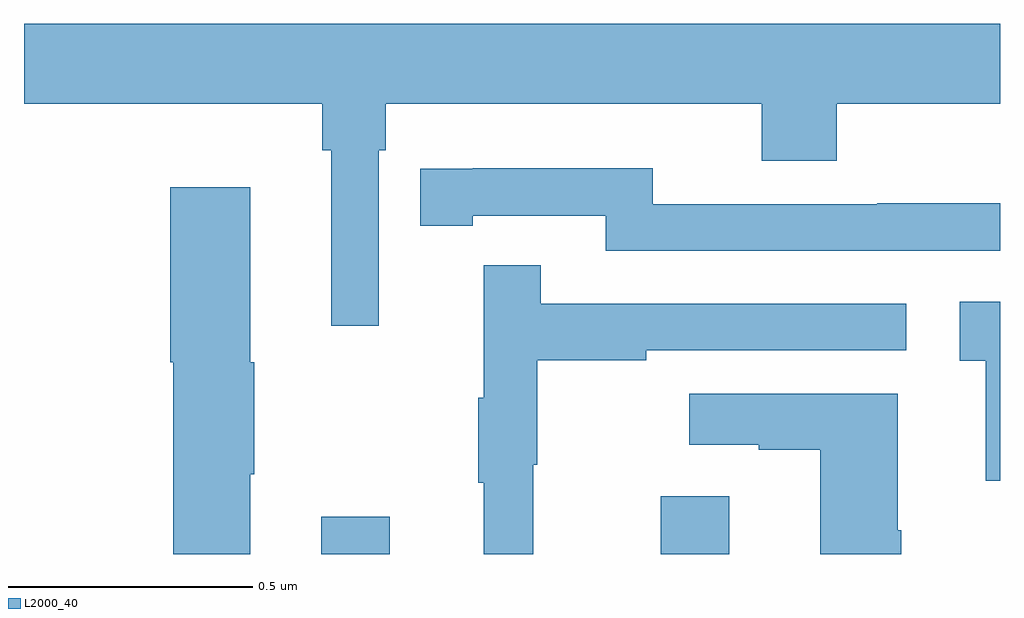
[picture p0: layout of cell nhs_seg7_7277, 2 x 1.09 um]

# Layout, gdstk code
import gdstk
lib = gdstk.Library(unit=1e-6, precision=1e-09)
def R(c, l, rs):  # rectangles x0, y0, x1, y1
    for r in rs: c.add(gdstk.rectangle(r[:2], r[2:], *l))
def P(c, l, *ps):  # polygons
    for p in ps: c.add(gdstk.Polygon(p, *l))
L2000_40 = (2000, 40)

nhs_seg7_7277 = lib.new_cell('nhs_seg7_7277')
R(nhs_seg7_7277, L2000_40, [(209.609,1025,209.749,1025.077), (210.305,1025,210.445,1025.119)])
P(nhs_seg7_7277, L2000_40, [(209.727,1025.828),(209.741,1025.828),(209.741,1025.924),(210.512,1025.924),(210.512,1025.807),(210.665,1025.807),(210.665,1025.924),(211,1025.924),(211,1026.088),(209,1026.088),(209,1025.924),(209.611,1025.924),(209.611,1025.828),(209.63,1025.828),(209.63,1025.469),(209.727,1025.469)],
  [(211,1025.72),(210.748,1025.72),(210.748,1025.718),(210.288,1025.718),(210.288,1025.791),(209.92,1025.791),(209.92,1025.79),(209.812,1025.79),(209.812,1025.674),(209.92,1025.674),(209.92,1025.694),(210.192,1025.694),(210.192,1025.622),(211,1025.622)],
  [(209.464,1025.164),(209.472,1025.164),(209.472,1025.394),(209.464,1025.394),(209.464,1025.752),(209.3,1025.752),(209.3,1025.394),(209.306,1025.394),(209.306,1025),(209.464,1025)],
  [(210.044,1025.184),(210.052,1025.184),(210.052,1025.398),(210.275,1025.398),(210.275,1025.418),(210.808,1025.418),(210.808,1025.514),(210.059,1025.514),(210.059,1025.593),(209.942,1025.593),(209.942,1025.321),(209.931,1025.321),(209.931,1025.147),(209.942,1025.147),(209.942,1025),(210.044,1025)],
  [(211,1025.518),(210.918,1025.518),(210.918,1025.397),(210.971,1025.397),(210.971,1025.151),(211,1025.151)],
  [(210.798,1025.05),(210.79,1025.05),(210.79,1025.329),(210.363,1025.329),(210.363,1025.225),(210.506,1025.225),(210.506,1025.215),(210.632,1025.215),(210.632,1025),(210.798,1025)])

lib.write_gds('nhs_seg7_7277.gds')
